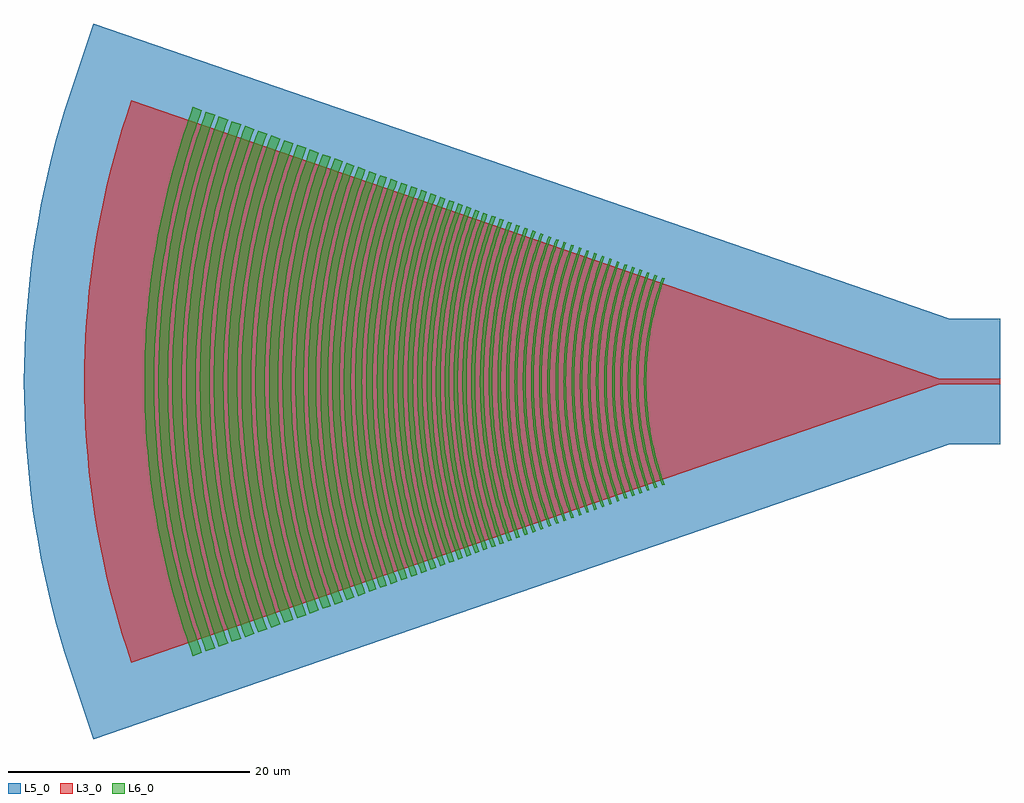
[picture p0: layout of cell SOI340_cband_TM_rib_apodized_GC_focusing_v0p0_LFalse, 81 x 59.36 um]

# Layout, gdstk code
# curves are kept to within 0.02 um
import gdstk
lib = gdstk.Library(unit=1e-6, precision=1e-09)
def P(c, l, *ps):  # polygons
    for p in ps: c.add(gdstk.Polygon(p, *l))
L3_0 = (3, 0)
L5_0 = (5, 0)
L6_0 = (6, 0)

soi340_cband_tm_rib_apod = lib.new_cell('SOI340_cband_TM_rib_apodized_GC_focusing_v0p0_LFalse')
P(soi340_cband_tm_rib_apod, L3_0, [(-72.092,-23.326),(-72.864,-20.948),(-73.554,-18.544),(-74.159,-16.117),(-74.679,-13.671),(-74.907,-12.442),(-75.298,-9.971),(-75.461,-8.732),(-75.722,-6.245),(-75.897,-3.75),(-75.984,-1.25),(-75.995,0),(-75.984,1.25),(-75.897,3.75),(-75.722,6.245),(-75.461,8.732),(-75.298,9.971),(-74.907,12.442),(-74.679,13.671),(-74.159,16.117),(-73.554,18.544),(-72.864,20.948),(-72.092,23.326),(-5,0.225),(0,0.225),(0,-0.225),(-5,-0.225)])
P(soi340_cband_tm_rib_apod, L5_0, [(-75.192,-29.681),(-75.251,-29.652),(-77.244,-23.684),(-78.025,-21.128),(-78.719,-18.542),(-79.031,-17.241),(-79.587,-14.627),(-79.831,-13.31),(-80.25,-10.667),(-80.576,-8.011),(-80.808,-5.348),(-80.89,-4.012),(-80.983,-1.338),(-80.995,0),(-80.983,1.338),(-80.89,4.012),(-80.808,5.348),(-80.576,8.011),(-80.25,10.667),(-79.831,13.31),(-79.587,14.627),(-79.031,17.241),(-78.719,18.542),(-78.025,21.128),(-77.244,23.684),(-75.251,29.652),(-75.192,29.681),(-4.163,5.225),(0,5.225),(0,-5.225),(-4.163,-5.225)])
P(soi340_cband_tm_rib_apod, L6_0, [(-28.027,-8.619),(-28.381,-7.578),(-28.745,-6.31),(-29.164,-4.376),(-29.36,-3.071),(-29.451,-2.196),(-29.523,-1.099),(-29.547,0),(-29.523,1.099),(-29.451,2.196),(-29.36,3.071),(-29.164,4.376),(-28.745,6.31),(-28.381,7.578),(-28.027,8.619),(-27.839,8.551),(-28.255,7.309),(-28.551,6.26),(-28.801,5.198),(-29.039,3.911),(-29.27,1.961),(-29.347,0),(-29.27,-1.961),(-29.039,-3.911),(-28.801,-5.198),(-28.551,-6.26),(-28.255,-7.309),(-27.839,-8.551)],
  [(-28.648,-8.843),(-29.01,-7.776),(-29.326,-6.693),(-29.594,-5.597),(-29.814,-4.491),(-29.985,-3.375),(-30.108,-2.253),(-30.183,-1.127),(-30.207,0),(-30.183,1.127),(-30.108,2.253),(-29.985,3.375),(-29.814,4.491),(-29.594,5.597),(-29.326,6.693),(-29.01,7.776),(-28.648,8.843),(-28.46,8.776),(-28.886,7.502),(-29.19,6.425),(-29.492,5.116),(-29.725,3.793),(-29.928,2.013),(-29.983,1.119),(-30.007,0),(-29.983,-1.119),(-29.928,-2.013),(-29.725,-3.793),(-29.492,-5.116),(-29.19,-6.425),(-28.886,-7.502),(-28.46,-8.776)],
  [(-29.282,-9.074),(-29.654,-7.979),(-29.978,-6.868),(-30.253,-5.743),(-30.479,-4.608),(-30.655,-3.463),(-30.781,-2.312),(-30.857,-1.158),(-30.882,0),(-30.857,1.158),(-30.781,2.312),(-30.655,3.463),(-30.479,4.608),(-30.253,5.743),(-29.978,6.868),(-29.654,7.979),(-29.282,9.074),(-29.094,9.007),(-29.531,7.7),(-29.843,6.594),(-30.107,5.475),(-30.358,4.12),(-30.513,2.981),(-30.601,2.066),(-30.657,1.149),(-30.682,0),(-30.657,-1.149),(-30.601,-2.066),(-30.513,-2.981),(-30.358,-4.12),(-30.107,-5.475),(-29.843,-6.594),(-29.531,-7.7),(-29.094,-9.007)],
  [(-29.89,-9.295),(-30.271,-8.174),(-30.603,-7.035),(-30.884,-5.883),(-31.116,-4.72),(-31.296,-3.548),(-31.425,-2.369),(-31.503,-1.186),(-31.529,0),(-31.503,1.186),(-31.425,2.369),(-31.296,3.548),(-31.116,4.72),(-30.884,5.883),(-30.603,7.035),(-30.271,8.174),(-29.89,9.295),(-29.702,9.228),(-30.15,7.889),(-30.47,6.756),(-30.739,5.61),(-30.997,4.221),(-31.156,3.054),(-31.246,2.117),(-31.313,0.942),(-31.329,0),(-31.313,-0.942),(-31.246,-2.117),(-31.156,-3.054),(-30.997,-4.221),(-30.739,-5.61),(-30.47,-6.756),(-30.15,-7.889),(-29.702,-9.228)],
  [(-30.51,-9.521),(-30.901,-8.372),(-31.303,-6.971),(-31.581,-5.788),(-31.766,-4.835),(-31.951,-3.634),(-32.083,-2.426),(-32.163,-1.215),(-32.189,0),(-32.163,1.215),(-32.083,2.426),(-31.951,3.634),(-31.766,4.835),(-31.581,5.788),(-31.303,6.971),(-30.901,8.372),(-30.51,9.521),(-30.322,9.454),(-30.71,8.312),(-31.109,6.921),(-31.385,5.747),(-31.649,4.324),(-31.783,3.369),(-31.904,2.169),(-31.963,1.206),(-31.989,0),(-31.963,-1.206),(-31.904,-2.169),(-31.783,-3.369),(-31.649,-4.324),(-31.385,-5.747),(-31.109,-6.921),(-30.71,-8.312),(-30.322,-9.454)],
  [(-31.132,-9.749),(-31.532,-8.571),(-31.88,-7.378),(-32.229,-5.926),(-32.418,-4.949),(-32.607,-3.72),(-32.742,-2.485),(-32.824,-1.243),(-32.851,0),(-32.824,1.243),(-32.742,2.485),(-32.607,3.72),(-32.418,4.949),(-32.229,5.926),(-31.88,7.378),(-31.532,8.571),(-31.132,9.749),(-30.941,9.68),(-31.338,8.51),(-31.747,7.086),(-32.03,5.884),(-32.3,4.427),(-32.466,3.204),(-32.561,2.22),(-32.631,0.988),(-32.648,0),(-32.631,-0.988),(-32.561,-2.22),(-32.466,-3.204),(-32.3,-4.427),(-32.03,-5.884),(-31.747,-7.086),(-31.338,-8.51),(-30.941,-9.68)],
  [(-31.769,-9.98),(-32.179,-8.775),(-32.535,-7.553),(-32.837,-6.316),(-33.086,-5.067),(-33.279,-3.809),(-33.418,-2.544),(-33.501,-1.273),(-33.529,0),(-33.501,1.273),(-33.418,2.544),(-33.279,3.809),(-33.086,5.067),(-32.837,6.316),(-32.535,7.553),(-32.179,8.775),(-31.769,9.98),(-31.577,9.911),(-31.984,8.714),(-32.402,7.256),(-32.743,5.777),(-33.007,4.283),(-33.236,2.274),(-33.307,1.011),(-33.325,0),(-33.307,-1.011),(-33.236,-2.274),(-33.007,-4.283),(-32.743,-5.777),(-32.402,-7.256),(-31.984,-8.714),(-31.577,-9.911)],
  [(-32.396,-10.209),(-32.814,-8.976),(-33.179,-7.725),(-33.488,-6.461),(-33.743,-5.182),(-33.906,-4.155),(-34.082,-2.602),(-34.168,-1.302),(-34.196,0),(-34.168,1.302),(-34.082,2.602),(-33.906,4.155),(-33.743,5.182),(-33.488,6.461),(-33.179,7.725),(-32.814,8.976),(-32.396,10.209),(-32.202,10.139),(-32.695,8.667),(-33.046,7.422),(-33.395,5.91),(-33.625,4.637),(-33.769,3.613),(-33.899,2.326),(-33.962,1.293),(-33.99,0),(-33.962,-1.293),(-33.899,-2.326),(-33.769,-3.613),(-33.625,-4.637),(-33.395,-5.91),(-33.046,-7.422),(-32.695,-8.667),(-32.202,-10.139)],
  [(-33.024,-10.436),(-33.452,-9.176),(-33.824,-7.899),(-34.198,-6.345),(-34.4,-5.299),(-34.603,-3.983),(-34.748,-2.66),(-34.835,-1.331),(-34.864,0),(-34.835,1.331),(-34.748,2.66),(-34.603,3.983),(-34.4,5.299),(-34.198,6.345),(-33.824,7.899),(-33.452,9.176),(-33.024,10.436),(-32.836,10.369),(-33.261,9.116),(-33.698,7.591),(-34.002,6.303),(-34.291,4.743),(-34.438,3.695),(-34.571,2.379),(-34.646,1.058),(-34.664,0),(-34.646,-1.058),(-34.571,-2.379),(-34.438,-3.695),(-34.291,-4.743),(-34.002,-6.303),(-33.698,-7.591),(-33.261,-9.116),(-32.836,-10.369)],
  [(-33.663,-10.669),(-34.1,-9.381),(-34.481,-8.074),(-34.804,-6.752),(-35.07,-5.418),(-35.277,-4.072),(-35.425,-2.719),(-35.515,-1.361),(-35.544,0),(-35.515,1.361),(-35.425,2.719),(-35.277,4.072),(-35.07,5.418),(-34.804,6.752),(-34.481,8.074),(-34.1,9.381),(-33.663,10.669),(-33.47,10.6),(-33.905,9.319),(-34.352,7.76),(-34.717,6.179),(-34.999,4.581),(-35.14,3.508),(-35.264,2.162),(-35.339,0),(-35.264,-2.162),(-35.14,-3.508),(-34.999,-4.581),(-34.717,-6.179),(-34.352,-7.76),(-33.905,-9.319),(-33.47,-10.6)],
  [(-34.302,-10.901),(-34.749,-9.586),(-35.138,-8.25),(-35.468,-6.899),(-35.74,-5.536),(-35.951,-4.161),(-36.102,-2.778),(-36.194,-1.391),(-36.224,0),(-36.194,1.391),(-36.102,2.778),(-35.951,4.161),(-35.74,5.536),(-35.468,6.899),(-35.138,8.25),(-34.749,9.586),(-34.302,10.901),(-34.109,10.832),(-34.635,9.26),(-35.01,7.93),(-35.327,6.585),(-35.629,4.955),(-35.783,3.86),(-35.921,2.485),(-36,1.105),(-36.019,0),(-36,-1.105),(-35.921,-2.485),(-35.783,-3.86),(-35.629,-4.955),(-35.327,-6.585),(-35.01,-7.93),(-34.635,-9.26),(-34.109,-10.832)],
  [(-34.921,-11.127),(-35.378,-9.783),(-35.774,-8.421),(-36.112,-7.042),(-36.389,-5.649),(-36.604,-4.247),(-36.759,-2.836),(-36.852,-1.419),(-36.883,0),(-36.852,1.419),(-36.759,2.836),(-36.604,4.247),(-36.389,5.649),(-36.112,7.042),(-35.774,8.421),(-35.378,9.783),(-34.921,11.127),(-34.729,11.058),(-35.183,9.722),(-35.649,8.095),(-36.03,6.446),(-36.281,5.058),(-36.438,3.94),(-36.579,2.537),(-36.648,1.41),(-36.679,0),(-36.648,-1.41),(-36.579,-2.537),(-36.438,-3.94),(-36.281,-5.058),(-36.03,-6.446),(-35.649,-8.095),(-35.183,-9.722),(-34.729,-11.058)],
  [(-35.563,-11.361),(-36.028,-9.99),(-36.434,-8.598),(-36.778,-7.19),(-37.061,-5.768),(-37.282,-4.336),(-37.439,-2.895),(-37.535,-1.449),(-37.566,0),(-37.535,1.449),(-37.439,2.895),(-37.282,4.336),(-37.061,5.768),(-36.778,7.19),(-36.434,8.598),(-36.028,9.99),(-35.563,11.361),(-35.368,11.291),(-35.917,9.652),(-36.307,8.266),(-36.638,6.864),(-36.953,5.164),(-37.147,3.737),(-37.257,2.59),(-37.328,1.44),(-37.359,0),(-37.328,-1.44),(-37.257,-2.59),(-37.147,-3.737),(-36.953,-5.164),(-36.638,-6.864),(-36.307,-8.266),(-35.917,-9.652),(-35.368,-11.291)],
  [(-36.199,-11.593),(-36.675,-10.193),(-37.088,-8.773),(-37.375,-7.625),(-37.728,-5.886),(-37.953,-4.425),(-38.114,-2.954),(-38.211,-1.479),(-38.243,0),(-38.211,1.479),(-38.114,2.954),(-37.953,4.425),(-37.728,5.886),(-37.375,7.625),(-37.088,8.773),(-36.675,10.193),(-36.199,11.593),(-36.006,11.523),(-36.479,10.131),(-36.965,8.436),(-37.362,6.717),(-37.623,5.27),(-37.787,4.106),(-37.934,2.643),(-38.006,1.47),(-38.038,0),(-38.006,-1.47),(-37.934,-2.643),(-37.787,-4.106),(-37.623,-5.27),(-37.362,-6.717),(-36.965,-8.436),(-36.479,-10.131),(-36.006,-11.523)],
  [(-36.828,-11.822),(-37.313,-10.394),(-37.735,-8.946),(-38.094,-7.481),(-38.388,-6.002),(-38.617,-4.512),(-38.781,-3.013),(-38.88,-1.507),(-38.913,0),(-38.88,1.507),(-38.781,3.013),(-38.617,4.512),(-38.388,6.002),(-38.094,7.481),(-37.735,8.946),(-37.313,10.394),(-36.828,11.822),(-36.627,11.749),(-37.198,10.044),(-37.605,8.601),(-38.009,6.849),(-38.276,5.374),(-38.443,4.186),(-38.593,2.695),(-38.678,1.199),(-38.699,0),(-38.678,-1.199),(-38.593,-2.695),(-38.443,-4.186),(-38.276,-5.374),(-38.009,-6.849),(-37.605,-8.601),(-37.198,-10.044),(-36.627,-11.749)],
  [(-37.466,-12.053),(-37.96,-10.598),(-38.39,-9.122),(-38.756,-7.628),(-39.056,-6.12),(-39.289,-4.6),(-39.457,-3.071),(-39.558,-1.538),(-39.591,0),(-39.558,1.538),(-39.457,3.071),(-39.289,4.6),(-39.056,6.12),(-38.756,7.628),(-38.39,9.122),(-37.96,10.598),(-37.466,12.053),(-37.256,11.978),(-37.838,10.239),(-38.252,8.769),(-38.603,7.281),(-38.937,5.478),(-39.143,3.964),(-39.26,2.748),(-39.335,1.528),(-39.368,0),(-39.335,-1.528),(-39.26,-2.748),(-39.143,-3.964),(-38.937,-5.478),(-38.603,-7.281),(-38.252,-8.769),(-37.838,-10.239),(-37.256,-11.978)],
  [(-38.123,-12.293),(-38.627,-10.809),(-39.066,-9.303),(-39.506,-7.473),(-39.744,-6.241),(-39.983,-4.692),(-40.154,-3.133),(-40.257,-1.568),(-40.291,0),(-40.257,1.568),(-40.154,3.133),(-39.983,4.692),(-39.744,6.241),(-39.506,7.473),(-39.066,9.303),(-38.627,10.809),(-38.123,12.293),(-37.905,12.214),(-38.499,10.441),(-38.921,8.942),(-39.279,7.425),(-39.619,5.587),(-39.793,4.352),(-39.949,2.802),(-40.025,1.558),(-40.059,0),(-40.025,-1.558),(-39.949,-2.802),(-39.793,-4.352),(-39.619,-5.587),(-39.279,-7.425),(-38.921,-8.942),(-38.499,-10.441),(-37.905,-12.214)],
  [(-38.777,-12.531),(-39.292,-11.018),(-39.738,-9.483),(-40.118,-7.931),(-40.43,-6.362),(-40.674,-4.782),(-40.848,-3.194),(-40.952,-1.598),(-40.987,0),(-40.952,1.598),(-40.848,3.194),(-40.674,4.782),(-40.43,6.362),(-40.118,7.931),(-39.738,9.483),(-39.292,11.018),(-38.777,12.531),(-38.544,12.447),(-39.055,10.943),(-39.58,9.112),(-39.944,7.566),(-40.291,5.693),(-40.468,4.435),(-40.627,2.855),(-40.717,1.27),(-40.739,0),(-40.717,-1.27),(-40.627,-2.855),(-40.468,-4.435),(-40.291,-5.693),(-39.944,-7.566),(-39.58,-9.112),(-39.055,-10.943),(-38.544,-12.447)],
  [(-39.446,-12.775),(-39.97,-11.232),(-40.426,-9.667),(-40.813,-8.084),(-41.132,-6.486),(-41.38,-4.876),(-41.557,-3.256),(-41.664,-1.629),(-41.699,0),(-41.664,1.629),(-41.557,3.256),(-41.38,4.876),(-41.132,6.486),(-40.813,8.084),(-40.426,9.667),(-39.97,11.232),(-39.446,12.775),(-39.181,12.679),(-39.797,10.838),(-40.236,9.282),(-40.673,7.391),(-40.961,5.799),(-41.141,4.518),(-41.303,2.908),(-41.382,1.617),(-41.417,0),(-41.382,-1.617),(-41.303,-2.908),(-41.141,-4.518),(-40.961,-5.799),(-40.673,-7.391),(-40.236,-9.282),(-39.797,-10.838),(-39.181,-12.679)],
  [(-40.129,-13.023),(-40.663,-11.451),(-41.129,-9.856),(-41.523,-8.242),(-41.847,-6.613),(-42.1,-4.971),(-42.281,-3.319),(-42.39,-1.661),(-42.426,0),(-42.39,1.661),(-42.281,3.319),(-42.1,4.971),(-41.847,6.613),(-41.523,8.242),(-41.129,9.856),(-40.663,11.451),(-40.129,13.023),(-39.851,12.923),(-40.479,11.047),(-40.927,9.46),(-41.304,7.856),(-41.665,5.911),(-41.887,4.277),(-42.014,2.964),(-42.107,1.319),(-42.13,0),(-42.107,-1.319),(-42.014,-2.964),(-41.887,-4.277),(-41.665,-5.911),(-41.304,-7.856),(-40.927,-9.46),(-40.479,-11.047),(-39.851,-12.923)],
  [(-40.815,-13.273),(-41.36,-11.67),(-41.833,-10.045),(-42.236,-8.4),(-42.566,-6.739),(-42.824,-5.066),(-43.009,-3.382),(-43.119,-1.693),(-43.156,0),(-43.119,1.693),(-43.009,3.382),(-42.824,5.066),(-42.566,6.739),(-42.236,8.4),(-41.833,10.045),(-41.36,11.67),(-40.815,13.273),(-40.522,13.167),(-41.162,11.255),(-41.618,9.639),(-42.071,7.675),(-42.421,5.69),(-42.597,4.358),(-42.75,2.685),(-42.821,1.344),(-42.844,0),(-42.821,-1.344),(-42.75,-2.685),(-42.597,-4.358),(-42.421,-5.69),(-42.071,-7.675),(-41.618,-9.639),(-41.162,-11.255),(-40.522,-13.167)],
  [(-41.501,-13.521),(-42.055,-11.889),(-42.538,-10.234),(-42.947,-8.558),(-43.284,-6.866),(-43.547,-5.161),(-43.735,-3.446),(-43.848,-1.725),(-43.885,0),(-43.848,1.725),(-43.735,3.446),(-43.547,5.161),(-43.284,6.866),(-42.947,8.558),(-42.538,10.234),(-42.055,11.889),(-41.501,13.521),(-41.197,13.412),(-41.747,11.792),(-42.313,9.819),(-42.775,7.818),(-43.131,5.796),(-43.31,4.439),(-43.441,3.077),(-43.525,1.711),(-43.562,0),(-43.525,-1.711),(-43.441,-3.077),(-43.31,-4.439),(-43.131,-5.796),(-42.775,-7.818),(-42.313,-9.819),(-41.747,-11.792),(-41.197,-13.412)],
  [(-42.184,-13.77),(-42.748,-12.108),(-43.24,-10.422),(-43.658,-8.715),(-44,-6.992),(-44.267,-5.255),(-44.459,-3.51),(-44.574,-1.757),(-44.612,0),(-44.574,1.757),(-44.459,3.51),(-44.267,5.255),(-44,6.992),(-43.658,8.715),(-43.24,10.422),(-42.748,12.108),(-42.184,13.77),(-41.865,13.655),(-42.528,11.673),(-43.087,9.659),(-43.539,7.618),(-43.834,5.901),(-44.016,4.52),(-44.176,2.785),(-44.249,1.393),(-44.273,0),(-44.249,-1.393),(-44.176,-2.785),(-44.016,-4.52),(-43.834,-5.901),(-43.539,-7.618),(-43.087,-9.659),(-42.528,-11.673),(-41.865,-13.655)],
  [(-42.869,-14.019),(-43.444,-12.327),(-43.944,-10.61),(-44.37,-8.873),(-44.719,-7.119),(-44.99,-5.35),(-45.185,-3.573),(-45.302,-1.789),(-45.341,0),(-45.302,1.789),(-45.185,3.573),(-44.99,5.35),(-44.719,7.119),(-44.37,8.873),(-43.944,10.61),(-43.444,12.327),(-42.869,14.019),(-42.534,13.899),(-43.104,12.22),(-43.691,10.175),(-44.169,8.102),(-44.539,6.007),(-44.724,4.6),(-44.86,3.188),(-44.96,1.418),(-44.985,0),(-44.96,-1.418),(-44.86,-3.188),(-44.724,-4.6),(-44.539,-6.007),(-44.169,-8.102),(-43.691,-10.175),(-43.104,-12.22),(-42.534,-13.899)],
  [(-43.559,-14.27),(-44.144,-12.547),(-44.653,-10.8),(-45.086,-9.032),(-45.441,-7.246),(-45.718,-5.447),(-45.917,-3.637),(-46.036,-1.821),(-46.075,0),(-46.036,1.821),(-45.917,3.637),(-45.718,5.447),(-45.441,7.246),(-45.086,9.032),(-44.653,10.8),(-44.144,12.547),(-43.559,14.27),(-43.207,14.144),(-43.894,12.091),(-44.473,10.004),(-44.871,8.245),(-45.247,6.113),(-45.435,4.681),(-45.574,3.245),(-45.662,1.804),(-45.701,0),(-45.662,-1.804),(-45.574,-3.245),(-45.435,-4.681),(-45.247,-6.113),(-44.871,-8.245),(-44.473,-10.004),(-43.894,-12.091),(-43.207,-14.144)],
  [(-44.258,-14.525),(-44.853,-12.772),(-45.372,-10.992),(-45.813,-9.193),(-46.174,-7.375),(-46.456,-5.544),(-46.658,-3.702),(-46.779,-1.853),(-46.819,0),(-46.779,1.853),(-46.658,3.702),(-46.456,5.544),(-46.174,7.375),(-45.813,9.193),(-45.372,10.992),(-44.853,12.772),(-44.258,14.525),(-43.889,14.392),(-44.479,12.654),(-45.087,10.536),(-45.582,8.389),(-45.965,6.22),(-46.157,4.764),(-46.297,3.302),(-46.387,1.836),(-46.427,0),(-46.387,-1.836),(-46.297,-3.302),(-46.157,-4.764),(-45.965,-6.22),(-45.582,-8.389),(-45.087,-10.536),(-44.479,-12.654),(-43.889,-14.392)],
  [(-44.974,-14.785),(-45.579,-13.001),(-46.107,-11.189),(-46.555,-9.357),(-46.923,-7.507),(-47.21,-5.643),(-47.415,-3.768),(-47.539,-1.886),(-47.58,0),(-47.539,1.886),(-47.415,3.768),(-47.21,5.643),(-46.923,7.507),(-46.555,9.357),(-46.107,11.189),(-45.579,13.001),(-44.974,14.785),(-44.587,14.646),(-45.298,12.52),(-45.897,10.36),(-46.382,8.171),(-46.699,6.329),(-46.894,4.848),(-47.065,2.987),(-47.143,1.494),(-47.169,0),(-47.143,-1.494),(-47.065,-2.987),(-46.894,-4.848),(-46.699,-6.329),(-46.382,-8.171),(-45.897,-10.36),(-45.298,-12.52),(-44.587,-14.646)],
  [(-45.71,-15.052),(-46.326,-13.236),(-46.863,-11.392),(-47.32,-9.527),(-47.694,-7.643),(-47.986,-5.745),(-48.195,-3.837),(-48.322,-1.92),(-48.363,0),(-48.322,1.92),(-48.195,3.837),(-47.986,5.745),(-47.694,7.643),(-47.32,9.527),(-46.863,11.392),(-46.326,13.236),(-45.71,15.052),(-45.303,14.907),(-46.027,12.743),(-46.543,10.913),(-47.056,8.689),(-47.452,6.442),(-47.651,4.934),(-47.797,3.42),(-47.89,1.901),(-47.931,0),(-47.89,-1.901),(-47.797,-3.42),(-47.651,-4.934),(-47.452,-6.442),(-47.056,-8.689),(-46.543,-10.913),(-46.027,-12.743),(-45.303,-14.907)],
  [(-46.464,-15.327),(-47.093,-13.477),(-47.639,-11.601),(-48.104,-9.701),(-48.486,-7.783),(-48.783,-5.85),(-48.996,-3.906),(-49.125,-1.955),(-49.167,0),(-49.125,1.955),(-48.996,3.906),(-48.783,5.85),(-48.486,7.783),(-48.104,9.701),(-47.639,11.601),(-47.093,13.477),(-46.464,15.327),(-46.038,15.174),(-46.661,13.341),(-47.301,11.109),(-47.823,8.845),(-48.227,6.558),(-48.429,5.022),(-48.606,3.095),(-48.687,1.548),(-48.714,0),(-48.687,-1.548),(-48.606,-3.095),(-48.429,-5.022),(-48.227,-6.558),(-47.823,-8.845),(-47.301,-11.109),(-46.661,-13.341),(-46.038,-15.174)],
  [(-47.239,-15.609),(-47.878,-13.725),(-48.436,-11.813),(-48.909,-9.88),(-49.298,-7.926),(-49.601,-5.958),(-49.817,-3.978),(-49.948,-1.99),(-49.991,0),(-49.948,1.99),(-49.817,3.978),(-49.601,5.958),(-49.298,7.926),(-48.909,9.88),(-48.436,11.813),(-47.878,13.725),(-47.239,15.609),(-46.794,15.449),(-47.544,13.207),(-48.079,11.31),(-48.611,9.006),(-49.022,6.677),(-49.228,5.114),(-49.379,3.544),(-49.475,1.97),(-49.518,0),(-49.475,-1.97),(-49.379,-3.544),(-49.228,-5.114),(-49.022,-6.677),(-48.611,-9.006),(-48.079,-11.31),(-47.544,-13.207),(-46.794,-15.449)],
  [(-48.034,-15.899),(-48.685,-13.98),(-49.253,-12.032),(-49.735,-10.062),(-50.131,-8.073),(-50.44,-6.069),(-50.66,-4.052),(-50.793,-2.028),(-50.837,0),(-50.793,2.028),(-50.66,4.052),(-50.44,6.069),(-50.131,8.073),(-49.735,10.062),(-49.253,12.032),(-48.685,13.98),(-48.034,15.899),(-47.568,15.731),(-48.213,13.831),(-48.775,11.904),(-49.252,9.955),(-49.643,7.987),(-49.949,6.004),(-50.167,4.009),(-50.298,2.006),(-50.342,0),(-50.298,-2.006),(-50.167,-4.009),(-49.949,-6.004),(-49.643,-7.987),(-49.252,-9.955),(-48.775,-11.904),(-48.213,-13.831),(-47.568,-15.731)],
  [(-48.851,-16.196),(-49.514,-14.241),(-50.092,-12.257),(-50.584,-10.25),(-50.986,-8.224),(-51.301,-6.182),(-51.526,-4.128),(-51.661,-2.065),(-51.706,0),(-51.661,2.065),(-51.526,4.128),(-51.301,6.182),(-50.986,8.224),(-50.584,10.25),(-50.092,12.257),(-49.514,14.241),(-48.851,16.196),(-48.363,16.021),(-49.02,14.085),(-49.592,12.123),(-50.078,10.138),(-50.476,8.134),(-50.787,6.114),(-51.01,4.082),(-51.143,2.043),(-51.188,0),(-51.143,-2.043),(-51.01,-4.082),(-50.787,-6.114),(-50.476,-8.134),(-50.078,-10.138),(-49.592,-12.123),(-49.02,-14.085),(-48.363,-16.021)],
  [(-49.688,-16.499),(-50.364,-14.508),(-50.953,-12.488),(-51.453,-10.443),(-51.864,-8.379),(-52.184,-6.297),(-52.413,-4.205),(-52.552,-2.104),(-52.597,0),(-52.552,2.104),(-52.413,4.205),(-52.184,6.297),(-51.864,8.379),(-51.453,10.443),(-50.953,12.488),(-50.364,14.508),(-49.688,16.499),(-49.179,16.317),(-49.848,14.346),(-50.43,12.348),(-50.925,10.326),(-51.331,8.285),(-51.648,6.227),(-51.874,4.158),(-52.011,2.081),(-52.056,0),(-52.011,-2.081),(-51.874,-4.158),(-51.648,-6.227),(-51.331,-8.285),(-50.925,-10.326),(-50.43,-12.348),(-49.848,-14.346),(-49.179,-16.317)],
  [(-50.548,-16.813),(-51.237,-14.784),(-51.837,-12.725),(-52.347,-10.642),(-52.765,-8.537),(-53.091,-6.418),(-53.325,-4.285),(-53.465,-2.145),(-53.512,0),(-53.465,2.145),(-53.325,4.285),(-53.091,6.418),(-52.765,8.537),(-52.347,10.642),(-51.837,12.725),(-51.237,14.784),(-50.548,16.813),(-50.016,16.622),(-50.698,14.614),(-51.291,12.579),(-51.795,10.519),(-52.209,8.439),(-52.531,6.344),(-52.762,4.236),(-52.901,2.12),(-52.947,0),(-52.901,-2.12),(-52.762,-4.236),(-52.531,-6.344),(-52.209,-8.439),(-51.795,-10.519),(-51.291,-12.579),(-50.698,-14.614),(-50.016,-16.622)],
  [(-51.43,-17.134),(-52.132,-15.066),(-52.744,-12.968),(-53.263,-10.845),(-53.69,-8.7),(-54.022,-6.54),(-54.261,-4.367),(-54.403,-2.186),(-54.451,0),(-54.403,2.186),(-54.261,4.367),(-54.022,6.54),(-53.69,8.7),(-53.263,10.845),(-52.744,12.968),(-52.132,15.066),(-51.43,17.134),(-50.876,16.935),(-51.57,14.889),(-52.175,12.815),(-52.688,10.717),(-53.11,8.598),(-53.438,6.463),(-53.674,4.316),(-53.815,2.16),(-53.862,0),(-53.815,-2.16),(-53.674,-4.316),(-53.438,-6.463),(-53.11,-8.598),(-52.688,-10.717),(-52.175,-12.815),(-51.57,-14.889),(-50.876,-16.935)],
  [(-52.337,-17.464),(-53.053,-15.356),(-53.676,-13.217),(-54.206,-11.053),(-54.64,-8.868),(-54.979,-6.666),(-55.222,-4.45),(-55.367,-2.228),(-55.416,0),(-55.367,2.228),(-55.222,4.45),(-54.979,6.666),(-54.64,8.868),(-54.206,11.053),(-53.676,13.217),(-53.053,15.356),(-52.337,17.464),(-51.758,17.256),(-52.466,15.172),(-53.082,13.058),(-53.605,10.92),(-54.034,8.761),(-54.369,6.586),(-54.609,4.397),(-54.753,2.201),(-54.801,0),(-54.753,-2.201),(-54.609,-4.397),(-54.369,-6.586),(-54.034,-8.761),(-53.605,-10.92),(-53.082,-13.058),(-52.466,-15.172),(-51.758,-17.256)],
  [(-53.268,-17.803),(-53.997,-15.655),(-54.633,-13.474),(-55.173,-11.268),(-55.616,-9.041),(-55.962,-6.796),(-56.209,-4.537),(-56.357,-2.271),(-56.407,0),(-56.357,2.271),(-56.209,4.537),(-55.962,6.796),(-55.616,9.041),(-55.173,11.268),(-54.633,13.474),(-53.997,15.655),(-53.268,17.803),(-52.665,17.586),(-53.386,15.462),(-54.014,13.308),(-54.547,11.129),(-54.985,8.929),(-55.326,6.712),(-55.57,4.481),(-55.717,2.243),(-55.766,0),(-55.717,-2.243),(-55.57,-4.481),(-55.326,-6.712),(-54.985,-8.929),(-54.547,-11.129),(-54.014,-13.308),(-53.386,-15.462),(-52.665,-17.586)],
  [(-54.225,-18.152),(-54.969,-15.961),(-55.617,-13.738),(-56.168,-11.489),(-56.62,-9.217),(-56.972,-6.928),(-57.225,-4.626),(-57.375,-2.315),(-57.426,0),(-57.375,2.315),(-57.225,4.626),(-56.972,6.928),(-56.62,9.217),(-56.168,11.489),(-55.617,13.738),(-54.969,15.961),(-54.225,18.152),(-53.596,17.925),(-54.331,15.76),(-54.971,13.565),(-55.515,11.344),(-55.961,9.101),(-56.309,6.841),(-56.558,4.568),(-56.707,2.286),(-56.757,0),(-56.707,-2.286),(-56.558,-4.568),(-56.309,-6.841),(-55.961,-9.101),(-55.515,-11.344),(-54.971,-13.565),(-54.331,-15.76),(-53.596,-17.925)],
  [(-55.21,-18.509),(-55.968,-16.275),(-56.628,-14.008),(-57.191,-11.714),(-57.65,-9.399),(-58.01,-7.065),(-58.267,-4.718),(-58.421,-2.361),(-58.473,0),(-58.421,2.361),(-58.267,4.718),(-58.01,7.065),(-57.65,9.399),(-57.191,11.714),(-56.628,14.008),(-55.968,16.275),(-55.21,18.509),(-54.554,18.274),(-55.303,16.066),(-55.955,13.828),(-56.51,11.564),(-56.964,9.278),(-57.319,6.974),(-57.573,4.657),(-57.725,2.331),(-57.776,0),(-57.725,-2.331),(-57.573,-4.657),(-57.319,-6.974),(-56.964,-9.278),(-56.51,-11.564),(-55.955,-13.828),(-55.303,-16.066),(-54.554,-18.274)],
  [(-56.222,-18.876),(-56.994,-16.599),(-57.668,-14.287),(-58.241,-11.948),(-58.71,-9.586),(-59.077,-7.206),(-59.339,-4.811),(-59.496,-2.408),(-59.549,0),(-59.496,2.408),(-59.339,4.811),(-59.077,7.206),(-58.71,9.586),(-58.241,11.948),(-57.668,14.287),(-56.994,16.599),(-56.222,18.876),(-55.538,18.632),(-56.302,16.381),(-56.967,14.099),(-57.532,11.791),(-57.995,9.46),(-58.357,7.111),(-58.616,4.748),(-58.771,2.376),(-58.823,0),(-58.771,-2.376),(-58.616,-4.748),(-58.357,-7.111),(-57.995,-9.46),(-57.532,-11.791),(-56.967,-14.099),(-56.302,-16.381),(-55.538,-18.632)],
  [(-57.261,-19.256),(-58.05,-16.933),(-58.737,-14.574),(-59.321,-12.188),(-59.801,-9.778),(-60.174,-7.35),(-60.442,-4.908),(-60.602,-2.456),(-60.656,0),(-60.602,2.456),(-60.442,4.908),(-60.174,7.35),(-59.801,9.778),(-59.321,12.188),(-58.737,14.574),(-58.05,16.933),(-57.261,19.256),(-56.549,19),(-57.328,16.705),(-58.006,14.378),(-58.582,12.024),(-59.055,9.647),(-59.424,7.251),(-59.688,4.842),(-59.846,2.423),(-59.899,0),(-59.846,-2.423),(-59.688,-4.842),(-59.424,-7.251),(-59.055,-9.647),(-58.582,-12.024),(-58.006,-14.378),(-57.328,-16.705),(-56.549,-19)],
  [(-58.332,-19.645),(-59.137,-17.275),(-59.837,-14.868),(-60.433,-12.434),(-60.922,-9.976),(-61.303,-7.498),(-61.576,-5.007),(-61.74,-2.505),(-61.795,0),(-61.74,2.505),(-61.576,5.007),(-61.303,7.498),(-60.922,9.976),(-60.433,12.434),(-59.837,14.868),(-59.137,17.275),(-58.332,19.645),(-57.589,19.379),(-58.384,17.038),(-59.075,14.664),(-59.663,12.263),(-60.145,9.839),(-60.521,7.395),(-60.79,4.938),(-60.952,2.471),(-61.006,0),(-60.952,-2.471),(-60.79,-4.938),(-60.521,-7.395),(-60.145,-9.839),(-59.663,-12.263),(-59.075,-14.664),(-58.384,-17.038),(-57.589,-19.379)],
  [(-59.412,-20.039),(-60.233,-17.621),(-60.949,-15.166),(-61.556,-12.683),(-62.055,-10.176),(-62.444,-7.648),(-62.722,-5.107),(-62.889,-2.556),(-62.945,0),(-62.889,2.556),(-62.722,5.107),(-62.444,7.648),(-62.055,10.176),(-61.556,12.683),(-60.949,15.166),(-60.233,17.621),(-59.412,20.039),(-58.659,19.768),(-59.47,17.38),(-60.176,14.959),(-60.775,12.51),(-61.267,10.037),(-61.651,7.544),(-61.925,5.037),(-62.09,2.521),(-62.145,0),(-62.09,-2.521),(-61.925,-5.037),(-61.651,-7.544),(-61.267,-10.037),(-60.775,-12.51),(-60.176,-14.959),(-59.47,-17.38),(-58.659,-19.768)],
  [(-60.493,-20.432),(-61.33,-17.966),(-62.059,-15.464),(-62.679,-12.932),(-63.187,-10.375),(-63.584,-7.799),(-63.868,-5.207),(-64.038,-2.606),(-64.095,0),(-64.038,2.606),(-63.868,5.207),(-63.584,7.799),(-63.187,10.375),(-62.679,12.932),(-62.059,15.464),(-61.33,17.966),(-60.493,20.432),(-59.74,20.161),(-60.567,17.726),(-61.286,15.257),(-61.898,12.759),(-62.399,10.236),(-62.791,7.694),(-63.071,5.138),(-63.239,2.571),(-63.295,0),(-63.239,-2.571),(-63.071,-5.138),(-62.791,-7.694),(-62.399,-10.236),(-61.898,-12.759),(-61.286,-15.257),(-60.567,-17.726),(-59.74,-20.161)],
  [(-61.574,-20.825),(-62.426,-18.312),(-63.17,-15.762),(-63.801,-13.181),(-64.32,-10.575),(-64.724,-7.948),(-65.013,-5.308),(-65.187,-2.655),(-65.245,0),(-65.187,2.655),(-65.013,5.308),(-64.724,7.948),(-64.32,10.575),(-63.801,13.181),(-63.17,15.762),(-62.426,18.312),(-61.574,20.825),(-60.821,20.555),(-61.663,18.072),(-62.397,15.555),(-63.02,13.008),(-63.532,10.436),(-63.931,7.844),(-64.216,5.238),(-64.388,2.621),(-64.445,0),(-64.388,-2.621),(-64.216,-5.238),(-63.931,-7.844),(-63.532,-10.436),(-63.02,-13.008),(-62.397,-15.555),(-61.663,-18.072),(-60.821,-20.555)],
  [(-62.654,-21.219),(-63.523,-18.659),(-64.281,-16.059),(-64.924,-13.43),(-65.453,-10.775),(-65.864,-8.098),(-66.159,-5.408),(-66.336,-2.707),(-66.395,0),(-66.336,2.707),(-66.159,5.408),(-65.864,8.098),(-65.453,10.775),(-64.924,13.43),(-64.281,16.059),(-63.523,18.659),(-62.654,21.219),(-61.901,20.948),(-62.76,18.418),(-63.508,15.852),(-64.143,13.256),(-64.665,10.636),(-65.071,7.994),(-65.362,5.338),(-65.537,2.672),(-65.595,0),(-65.537,-2.672),(-65.362,-5.338),(-65.071,-7.994),(-64.665,-10.636),(-64.143,-13.256),(-63.508,-15.852),(-62.76,-18.418),(-61.901,-20.948)],
  [(-63.735,-21.612),(-64.62,-19.004),(-65.392,-16.356),(-66.047,-13.678),(-66.585,-10.974),(-67.004,-8.249),(-67.305,-5.508),(-67.485,-2.757),(-67.545,0),(-67.485,2.757),(-67.305,5.508),(-67.004,8.249),(-66.585,10.974),(-66.047,13.678),(-65.392,16.356),(-64.62,19.004),(-63.735,21.612),(-62.982,21.341),(-63.857,18.763),(-64.619,16.15),(-65.266,13.505),(-65.797,10.835),(-66.211,8.145),(-66.508,5.438),(-66.686,2.722),(-66.745,0),(-66.686,-2.722),(-66.508,-5.438),(-66.211,-8.145),(-65.797,-10.835),(-65.266,-13.505),(-64.619,-16.15),(-63.857,-18.763),(-62.982,-21.341)],
  [(-64.816,-22.005),(-65.717,-19.349),(-66.503,-16.654),(-67.17,-13.927),(-67.718,-11.173),(-68.144,-8.399),(-68.45,-5.609),(-68.634,-2.807),(-68.695,0),(-68.634,2.807),(-68.45,5.609),(-68.144,8.399),(-67.718,11.173),(-67.17,13.927),(-66.503,16.654),(-65.717,19.349),(-64.816,22.005),(-64.063,21.735),(-64.954,19.109),(-65.73,16.447),(-66.389,13.754),(-66.93,11.035),(-67.351,8.295),(-67.653,5.539),(-67.835,2.772),(-67.895,0),(-67.835,-2.772),(-67.653,-5.539),(-67.351,-8.295),(-66.93,-11.035),(-66.389,-13.754),(-65.73,-16.447),(-64.954,-19.109),(-64.063,-21.735)],
  [(-65.896,-22.399),(-66.814,-19.696),(-67.613,-16.952),(-68.292,-14.176),(-68.85,-11.374),(-69.284,-8.55),(-69.596,-5.709),(-69.782,-2.857),(-69.845,0),(-69.782,2.857),(-69.596,5.709),(-69.284,8.55),(-68.85,11.374),(-68.292,14.176),(-67.613,16.952),(-66.814,19.696),(-65.896,22.399),(-65.143,22.128),(-66.051,19.455),(-66.84,16.745),(-67.511,14.003),(-68.062,11.235),(-68.491,8.445),(-68.799,5.639),(-68.983,2.822),(-69.045,0),(-68.983,-2.822),(-68.799,-5.639),(-68.491,-8.445),(-68.062,-11.235),(-67.511,-14.003),(-66.84,-16.745),(-66.051,-19.455),(-65.143,-22.128)],
  [(-66.977,-22.791),(-67.91,-20.042),(-68.724,-17.25),(-69.415,-14.425),(-69.983,-11.573),(-70.425,-8.699),(-70.741,-5.809),(-70.931,-2.907),(-70.995,0),(-70.931,2.907),(-70.741,5.809),(-70.425,8.699),(-69.983,11.573),(-69.415,14.425),(-68.724,17.25),(-67.91,20.042),(-66.977,22.791),(-66.224,22.521),(-67.147,19.801),(-67.951,17.043),(-68.634,14.252),(-69.195,11.434),(-69.632,8.595),(-69.944,5.739),(-70.132,2.872),(-70.195,0),(-70.132,-2.872),(-69.944,-5.739),(-69.632,-8.595),(-69.195,-11.434),(-68.634,-14.252),(-67.951,-17.043),(-67.147,-19.801),(-66.224,-22.521)])

lib.write_gds('SOI340_cband_TM_rib_apodized_GC_focusing_v0p0_LFalse.gds')
